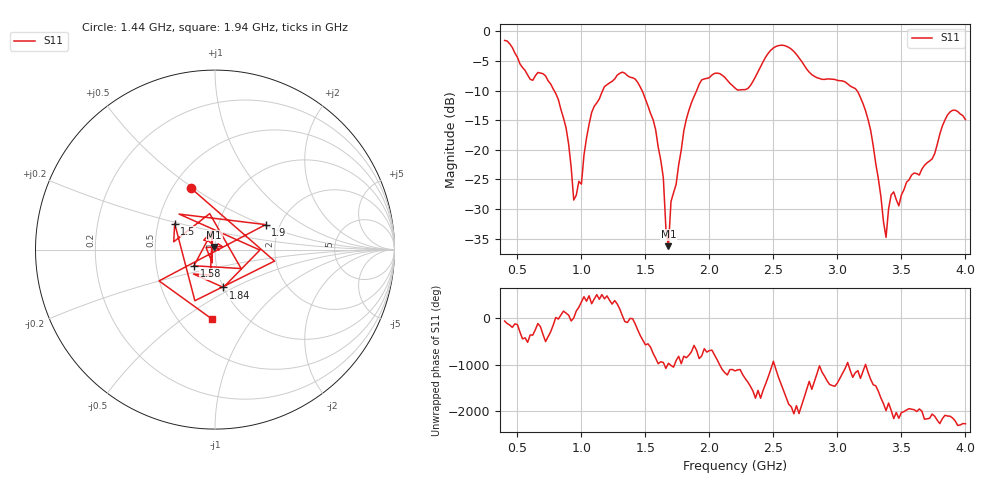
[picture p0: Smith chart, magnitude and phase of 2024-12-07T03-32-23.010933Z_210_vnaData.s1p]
!Created with skrf (http://scikit-rf.org).
# Hz S RI R 50.0
!freq ReS11 ImS11
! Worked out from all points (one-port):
!   181 points, 400 MHz to 4 GHz, reference 50 ohm
!   lowest |S11| = -36.3 dB at 1.68 GHz (marker M1), VSWR 1.03, Z = 49.5 + j1.45 ohm
!   |S11| at or under -10 dB: 786.5 MHz to 1.166 GHz (379.9 MHz wide, 38.9 % of centre); 1.473 GHz to 1.901 GHz (427.4 MHz wide, 25.3 % of centre); 3.152 GHz to end of sweep
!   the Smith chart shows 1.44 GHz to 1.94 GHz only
!   S11 on the Smith chart (normalised r, x): 1.44 GHz: 0.61, +0.49; 1.5 GHz: 0.61, +0.19; 1.58 GHz: 0.78, -0.14; 1.84 GHz: 1.00, -0.44; 1.9 GHz: 1.68, +0.52; 1.94 GHz: 0.72, -0.66
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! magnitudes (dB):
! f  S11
! 400 MHz  -1.6
! 720 MHz  -7.5
! 860 MHz  -14.6
! 940 MHz  -28.5
! 1 GHz  -25.8
! 1.08 GHz  -13.7
! 1.3 GHz  -7.1
! 1.44 GHz  -8.6
! 1.5 GHz  -11.5
! 1.58 GHz  -16.6
! 1.64 GHz  -24.7
! 1.68 GHz  -36.3
! 1.7 GHz  -28.7
! 1.76 GHz  -22.5
! 1.84 GHz  -13.3
! 1.9 GHz  -10.0
! 1.94 GHz  -8.2
! 2.2 GHz  -9.6
! 2.66 GHz  -3.4
! 3.1 GHz  -9.2
! 3.26 GHz  -16.7
! 3.38 GHz  -34.8
! 3.42 GHz  -27.6
! 3.48 GHz  -29.5
! 3.56 GHz  -25.1
! 3.74 GHz  -21.5
! 3.88 GHz  -13.6
! 4 GHz  -14.9
